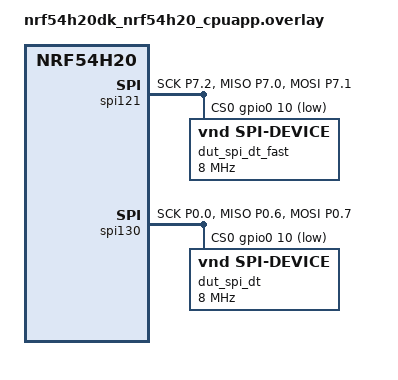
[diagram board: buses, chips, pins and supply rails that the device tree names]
&pinctrl {
	spi121_default_alt: spi121_default_alt {
		group1 {
			psels = <NRF_PSEL(SPIM_SCK, 7, 2)>,
				<NRF_PSEL(SPIM_MISO, 7, 0)>,
				<NRF_PSEL(SPIM_MOSI, 7, 1)>;
		};
	};

	spi121_sleep_alt: spi121_sleep_alt {
		group1 {
			psels = <NRF_PSEL(SPIM_SCK, 7, 2)>,
				<NRF_PSEL(SPIM_MISO, 7, 0)>,
				<NRF_PSEL(SPIM_MOSI, 7, 1)>;
			low-power-enable;
		};
	};

	spi130_default_alt1: spi130_default_alt1 {
		group1 {
			psels = <NRF_PSEL(SPIM_SCK, 0, 0)>,
				<NRF_PSEL(SPIM_MISO, 0, 6)>,
				<NRF_PSEL(SPIM_MOSI, 0, 7)>;
		};
	};

	spi130_sleep_alt1: spi130_sleep_alt1 {
		group1 {
			psels = <NRF_PSEL(SPIM_SCK, 0, 0)>,
				<NRF_PSEL(SPIM_MISO, 0, 6)>,
				<NRF_PSEL(SPIM_MOSI, 0, 7)>;
			low-power-enable;
		};
	};
};

dut_spim_fast: &spi121 {
	compatible = "nordic,nrf-spim";
	status = "okay";
	pinctrl-0 = <&spi121_default_alt>;
	pinctrl-1 = <&spi121_sleep_alt>;
	pinctrl-names = "default", "sleep";
	overrun-character = <0x00>;
	memory-regions = <&dma_fast_region>;
	cs-gpios = <&gpio0 10 GPIO_ACTIVE_LOW>;
	zephyr,pm-device-runtime-auto;
	dut_spi_dt_fast: test-spi-dev@0 {
		compatible = "vnd,spi-device";
		reg = <0>;
		spi-max-frequency = <DT_FREQ_M(8)>;
	};
};

dut_spim: &spi130 {
	compatible = "nordic,nrf-spim";
	status = "okay";
	pinctrl-0 = <&spi130_default_alt1>;
	pinctrl-1 = <&spi130_sleep_alt1>;
	pinctrl-names = "default", "sleep";
	overrun-character = <0x00>;
	dut_spi_dt: test-spi-dev@0 {
		compatible = "vnd,spi-device";
		reg = <0>;
		spi-max-frequency = <DT_FREQ_M(8)>;
	};
	cs-gpios = <&gpio0 10 GPIO_ACTIVE_LOW>;
	zephyr,pm-device-runtime-auto;
	memory-regions = <&cpuapp_dma_region>;
	/*zephyr,pm-device-runtime-auto;*/
};

&dma_fast_region {
	status = "okay";
};

&gpio0 {
	status = "okay";
};

&gpiote130 {
	status = "okay";
};

stopwatch: &timer130 {
	status = "reserved";
};
